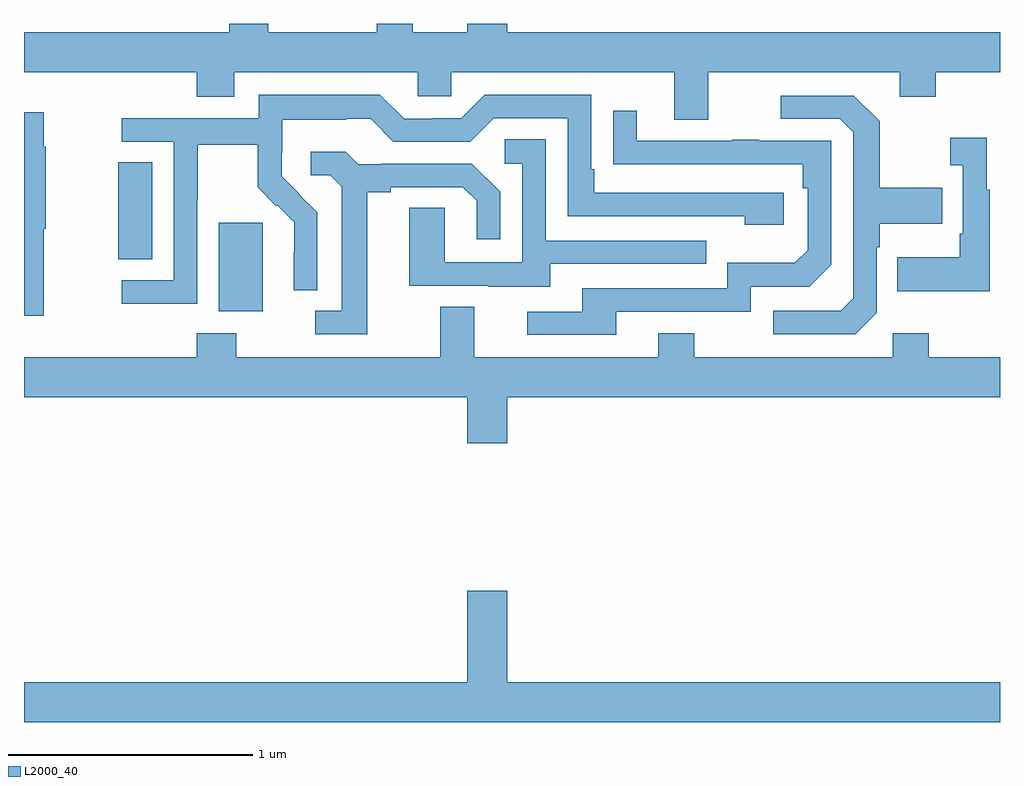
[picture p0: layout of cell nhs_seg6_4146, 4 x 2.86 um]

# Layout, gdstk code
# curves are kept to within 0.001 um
import gdstk
lib = gdstk.Library(unit=1e-6, precision=1e-09)
def R(c, l, rs):  # rectangles x0, y0, x1, y1
    for r in rs: c.add(gdstk.rectangle(r[:2], r[2:], *l))
def P(c, l, *ps):  # polygons
    for p in ps: c.add(gdstk.Polygon(p, *l))
L2000_40 = (2000, 40)

nhs_seg6_4146 = lib.new_cell('nhs_seg6_4146')
R(nhs_seg6_4146, L2000_40, [(355.799,982.322,355.978,982.683), (355.387,982.534,355.525,982.931)])
P(nhs_seg6_4146, L2000_40, [(357.805,983.3),(358.589,983.3),(358.589,983.201),(358.737,983.201),(358.737,983.3),(359,983.3),(359,983.464),(356.98,983.464),(356.98,983.5),(356.816,983.5),(356.816,983.464),(356.593,983.464),(356.593,983.5),(356.446,983.5),(356.446,983.464),(356.001,983.464),(356.001,983.5),(355.841,983.5),(355.841,983.464),(355,983.464),(355,983.3),(355.709,983.3),(355.709,983.201),(355.861,983.201),(355.861,983.3),(356.613,983.3),(356.613,983.202),(356.751,983.202),(356.751,983.3),(357.665,983.3),(357.665,983.106),(357.805,983.106)],
  [(355.71,982.78),(355.713,982.78),(355.713,983.004),(355.957,983.004),(355.957,982.829),(356.034,982.752),(356.037,982.755),(356.108,982.685),(356.108,982.562),(356.106,982.562),(356.106,982.408),(356.202,982.408),(356.202,982.726),(356.056,982.874),(356.056,982.971),(356.058,982.971),(356.058,983.105),(356.321,983.105),(356.321,983.109),(356.421,983.109),(356.514,983.016),(356.829,983.016),(356.925,983.112),(357.228,983.112),(357.228,982.71),(357.953,982.71),(357.953,982.676),(358.114,982.676),(358.114,982.806),(357.337,982.806),(357.337,982.903),(357.324,982.903),(357.324,983.208),(356.889,983.208),(356.793,983.112),(356.675,983.112),(356.675,983.109),(356.559,983.109),(356.459,983.209),(355.962,983.209),(355.962,983.112),(355.401,983.112),(355.401,983.016),(355.614,983.016),(355.614,982.449),(355.401,982.449),(355.401,982.351),(355.71,982.351)],
  [(358.494,982.314),(358.494,982.583),(358.507,982.583),(358.507,982.679),(358.763,982.679),(358.763,982.827),(358.507,982.827),(358.507,983.099),(358.401,983.205),(358.101,983.205),(358.101,983.109),(358.344,983.109),(358.398,983.055),(358.398,982.374),(358.347,982.323),(358.071,982.323),(358.071,982.227),(358.407,982.227)],
  [(357.427,982.32),(357.978,982.32),(357.978,982.422),(358.218,982.422),(358.308,982.512),(358.308,983.019),(358.013,983.019),(358.013,983.024),(357.901,983.024),(357.901,983.019),(357.511,983.019),(357.511,983.143),(357.415,983.143),(357.415,982.924),(358.192,982.923),(358.192,982.826),(358.212,982.826),(358.212,982.572),(358.159,982.519),(357.882,982.519),(357.882,982.416),(357.287,982.416),(357.287,982.32),(357.063,982.32),(357.063,982.224),(357.427,982.224)],
  [(355.08,982.659),(355.09,982.659),(355.09,982.995),(355.08,982.995),(355.08,983.137),(355,983.137),(355,982.302),(355.08,982.302)],
  [(358.957,982.819),(358.945,982.819),(358.945,983.032),(358.797,983.032),(358.797,982.919),(358.848,982.919),(358.848,982.639),(358.836,982.639),(358.836,982.543),(358.579,982.543),(358.579,982.403),(358.957,982.403)],
  [(357.157,982.515),(357.797,982.515),(357.797,982.611),(357.138,982.611),(357.138,983.027),(356.97,983.027),(356.97,982.926),(357.042,982.926),(357.042,982.521),(356.724,982.521),(356.724,982.745),(356.579,982.745),(356.579,982.425),(356.903,982.425),(356.903,982.421),(357.157,982.421)],
  [(356.407,982.808),(356.503,982.808),(356.503,982.83),(356.798,982.83),(356.855,982.773),(356.855,982.617),(356.952,982.617),(356.952,982.81),(356.836,982.926),(356.464,982.926),(356.464,982.923),(356.37,982.923),(356.318,982.975),(356.175,982.975),(356.175,982.878),(356.256,982.878),(356.303,982.831),(356.303,982.323),(356.193,982.323),(356.193,982.227),(356.407,982.227)],
  [(356.98,981.968),(359,981.968),(359,982.132),(358.707,982.132),(358.707,982.231),(358.56,982.231),(358.56,982.132),(357.747,982.132),(357.747,982.231),(357.599,982.231),(357.599,982.132),(356.845,982.132),(356.845,982.34),(356.705,982.34),(356.705,982.132),(355.869,982.132),(355.869,982.231),(355.709,982.231),(355.709,982.132),(355,982.132),(355,981.968),(356.816,981.968),(356.816,981.78),(356.98,981.78)],
  [(359,980.8),(356.98,980.8),(356.98,981.175),(356.816,981.175),(356.816,980.8),(355,980.8),(355,980.636),(359,980.636)])

lib.write_gds('nhs_seg6_4146.gds')
